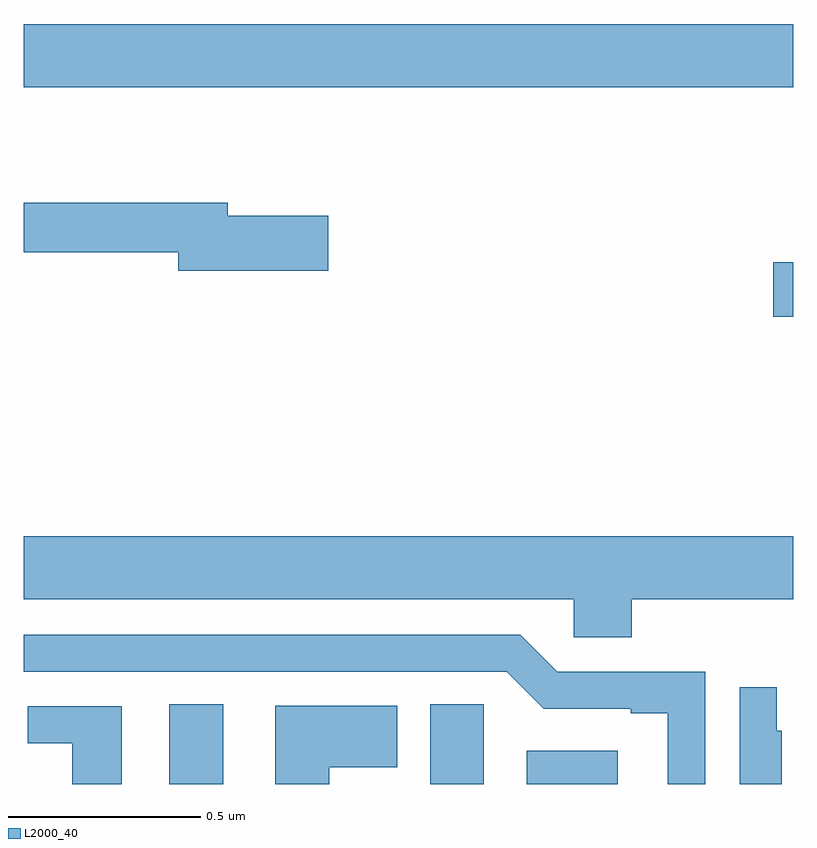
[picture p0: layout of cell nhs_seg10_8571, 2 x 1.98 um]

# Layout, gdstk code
import gdstk
lib = gdstk.Library(unit=1e-6, precision=1e-09)
def R(c, l, rs):  # rectangles x0, y0, x1, y1
    for r in rs: c.add(gdstk.rectangle(r[:2], r[2:], *l))
def P(c, l, *ps):  # polygons
    for p in ps: c.add(gdstk.Polygon(p, *l))
L2000_40 = (2000, 40)

nhs_seg10_8571 = lib.new_cell('nhs_seg10_8571')
R(nhs_seg10_8571, L2000_40, [(218.378,1302.5,218.518,1302.707), (219.308,1302.5,219.544,1302.586), (219.948,1303.715,220,1303.857), (218,1304.312,220,1304.476)])
P(nhs_seg10_8571, L2000_40, [(218.791,1303.977),(218.53,1303.977),(218.53,1304.011),(218,1304.011),(218,1303.882),(218.402,1303.882),(218.402,1303.835),(218.791,1303.835)],
  [(219.581,1302.98),(220,1302.98),(220,1303.144),(218,1303.144),(218,1302.98),(219.429,1302.98),(219.429,1302.882),(219.581,1302.882)],
  [(219.771,1302.792),(219.387,1302.792),(219.291,1302.888),(218,1302.888),(218,1302.792),(219.255,1302.792),(219.351,1302.696),(219.578,1302.696),(219.578,1302.684),(219.674,1302.684),(219.674,1302.5),(219.771,1302.5)],
  [(219.97,1302.638),(219.958,1302.638),(219.958,1302.751),(219.861,1302.751),(219.861,1302.5),(219.97,1302.5)],
  [(219.196,1302.596),(219.195,1302.596),(219.195,1302.707),(219.056,1302.707),(219.056,1302.5),(219.196,1302.5)],
  [(218.794,1302.544),(218.971,1302.544),(218.971,1302.703),(218.654,1302.703),(218.654,1302.5),(218.794,1302.5)],
  [(218.254,1302.702),(218.01,1302.702),(218.01,1302.606),(218.126,1302.606),(218.126,1302.5),(218.254,1302.5)])

lib.write_gds('nhs_seg10_8571.gds')
